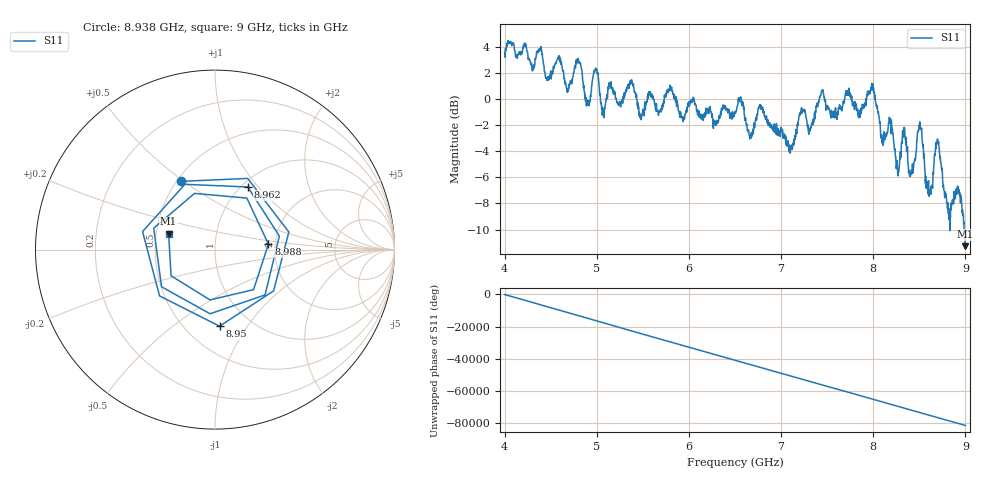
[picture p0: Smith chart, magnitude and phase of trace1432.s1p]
! Created with skrf 1.8.0 (http://scikit-rf.org).
# Hz S RI R 50.0
!freq ReS11 ImS11
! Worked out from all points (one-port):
!   1601 points, 4 GHz to 9 GHz, reference 50 ohm
!   lowest |S11| = -11.3 dB at 9 GHz (marker M1), VSWR 1.75, Z = 29.1 + j5.54 ohm
!   |S11| at or under -10 dB: 8.830849 GHz to 8.831211 GHz (362.4 kHz wide, 0.0041 % of centre); 8.986152 GHz to end of sweep
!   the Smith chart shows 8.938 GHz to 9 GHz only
!   S11 on the Smith chart (normalised r, x): 8.938 GHz: 0.53, +0.49; 8.95 GHz: 0.72, -0.75; 8.962 GHz: 1.07, +0.88; 8.988 GHz: 1.84, +0.12; 9 GHz: 0.58, +0.11
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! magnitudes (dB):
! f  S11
! 4 GHz  3.6
! 4.625 GHz  2.4
! 5.25 GHz  -0.2
! 5.378 GHz  1.5
! 5.484 GHz  -1.5
! 5.875 GHz  -0.3
! 6.5 GHz  -1.0
! 6.775 GHz  -0.7
! 7.125 GHz  -3.4
! 7.438 GHz  0.6
! 7.584 GHz  -1.5
! 7.75 GHz  0.4
! 7.994 GHz  0.9
! 8.103 GHz  -3.0
! 8.191 GHz  -1.9
! 8.266 GHz  -5.8
! 8.334 GHz  -2.4
! 8.375 GHz  -4.8
! 8.419 GHz  -5.4
! 8.503 GHz  -1.9
! 8.6 GHz  -6.3
! 8.697 GHz  -3.1
! 8.812 GHz  -8.7
! 8.938 GHz  -7.4
! 8.95 GHz  -7.4
! 8.962 GHz  -8.1
! 8.988 GHz  -10.5
! 9 GHz  -11.3
